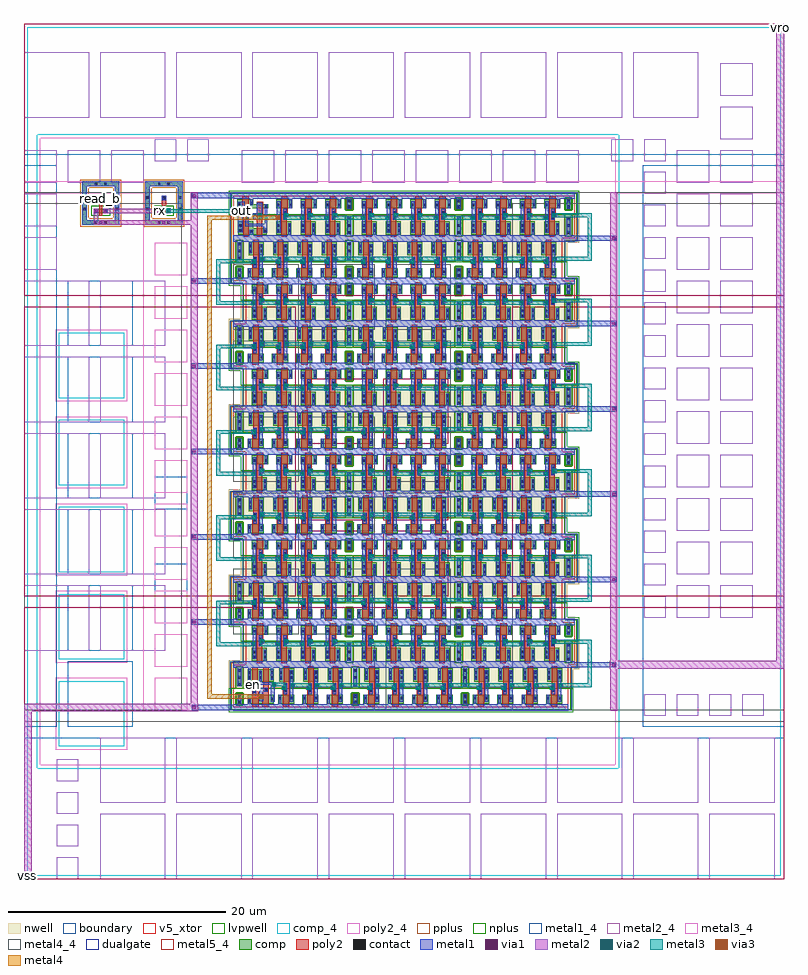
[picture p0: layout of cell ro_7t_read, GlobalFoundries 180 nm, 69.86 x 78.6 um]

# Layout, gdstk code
from math import pi, radians
import gdstk
lib = gdstk.Library(unit=1e-6, precision=1e-09)
def R(c, l, rs):  # rectangles x0, y0, x1, y1
    for r in rs: c.add(gdstk.rectangle(r[:2], r[2:], *l))
def A(c, l, x, y, w, h, nx, ny, dx, dy):  # array of equal rectangles
    R(c, l, [(x+i*dx, y+j*dy, x+i*dx+w, y+j*dy+h) for i in range(nx) for j in range(ny)])
def P(c, l, *ps):  # polygons
    for p in ps: c.add(gdstk.Polygon(p, *l))
boundary = (0, 0)
nwell = (21, 0)
comp = (22, 0)
comp_4 = (22, 4)
poly2 = (30, 0)
poly2_4 = (30, 4)
pplus = (31, 0)
nplus = (32, 0)
contact = (33, 0)
metal1 = (34, 0)
metal1_4 = (34, 4)
via1 = (35, 0)
metal2 = (36, 0)
metal2_4 = (36, 4)
via2 = (38, 0)
via3 = (40, 0)
metal3 = (42, 0)
metal3_4 = (42, 4)
metal4 = (46, 0)
metal4_4 = (46, 4)
dualgate = (55, 0)
metal5_4 = (81, 4)
v5_xtor = (112, 1)
lvpwell = (204, 0)

ro_7t__inv_1 = lib.new_cell('ro_7t__inv_1')
R(ro_7t__inv_1, boundary, [(0,0,2.24,3.92)])
R(ro_7t__inv_1, nwell, [(-0.43,1.76,2.67,4.35)])
R(ro_7t__inv_1, comp, [(0.18,0.34,1.66,1.16), (0.28,2.36,1.66,3.58)])
P(ro_7t__inv_1, poly2, [(0.62,0.12),(0.62,1.93),(0.72,1.93),(0.72,3.8),(1.22,3.8),(1.22,0.12)])
R(ro_7t__inv_1, pplus, [(-0.2,1.76,2.44,4.12)])
R(ro_7t__inv_1, nplus, [(-0.2,-0.2,2.44,1.76)])
R(ro_7t__inv_1, contact, [(0.25,0.735,0.47,0.955), (1.37,0.735,1.59,0.955), (0.79,1.42,1.01,1.64), (0.79,1.89,1.01,2.11), (0.35,2.63,0.57,2.85), (1.37,2.63,1.59,2.85), (0.35,3.1,0.57,3.32), (1.37,3.1,1.59,3.32)])
R(ro_7t__inv_1, metal1, [(1.265,0.53,1.595,3.39), (0.71,1.2,1.035,2.2)])
P(ro_7t__inv_1, metal1, [(0,-0.3),(0,0.3),(0.245,0.3),(0.245,1.16),(0.475,1.16),(0.475,0.3),(2.24,0.3),(2.24,-0.3)],
  [(0.345,2.53),(0.345,3.62),(0,3.62),(0,4.22),(2.24,4.22),(2.24,3.62),(0.575,3.62),(0.575,2.53)])
R(ro_7t__inv_1, dualgate, [(-0.28,-0.28,2.52,4.2)])
R(ro_7t__inv_1, v5_xtor, [(0,0,2.24,3.92)])
R(ro_7t__inv_1, lvpwell, [(-0.43,-0.43,2.67,1.76)])
ro_7t__inv_1.add(gdstk.Label('& Vendor GLOBALFOUNDRIES', (0,2), layer=63, texttype=63))
ro_7t__inv_1.add(gdstk.Label('& Product GF018hv5v_mcu_sc7', (0,1.5), layer=63, texttype=63))
ro_7t__inv_1.add(gdstk.Label('& Version 2015q2v1', (0,1), layer=63, texttype=63))
ro_7t__inv_1.add(gdstk.Label('& Metric 1.00', (0,0.5), layer=63, texttype=63))

ro_7t__filltie = lib.new_cell('ro_7t__filltie')
R(ro_7t__filltie, boundary, [(0,0,1.12,3.92)])
R(ro_7t__filltie, nwell, [(-0.43,1.76,1.55,4.35)])
R(ro_7t__filltie, comp, [(0.28,0.28,0.84,1.28), (0.36,1.92,0.76,3.56)])
R(ro_7t__filltie, pplus, [(0.2,0.2,0.92,1.36)])
P(ro_7t__filltie, pplus, [(-0.2,1.76),(-0.2,4.12),(1.32,4.12),(1.32,1.76),(0.92,1.76),(0.92,3.72),(0.2,3.72),(0.2,1.76)])
P(ro_7t__filltie, nplus, [(-0.2,-0.2),(-0.2,1.76),(0.2,1.76),(0.2,3.72),(0.92,3.72),(0.92,1.36),(0.2,1.36),(0.2,0.2),(0.92,0.2),(0.92,3.72),(0.92,1.76),(1.32,1.76),(1.32,-0.2)])
A(ro_7t__filltie, contact, 0.45, 1.99, 0.22, 0.22, 1, 3, 0, 0.64)
R(ro_7t__filltie, contact, [(0.45,0.4,0.67,0.62), (0.45,0.905,0.67,1.125)])
P(ro_7t__filltie, metal1, [(0,-0.3),(0,0.3),(0.39,0.3),(0.39,1.185),(0.73,1.185),(0.73,0.3),(1.12,0.3),(1.12,-0.3)],
  [(0.39,1.93),(0.39,3.62),(0,3.62),(0,4.22),(1.12,4.22),(1.12,3.62),(0.73,3.62),(0.73,1.93)])
R(ro_7t__filltie, dualgate, [(-0.28,-0.28,1.4,4.2)])
R(ro_7t__filltie, v5_xtor, [(0,0,1.12,3.92)])
R(ro_7t__filltie, lvpwell, [(-0.43,-0.43,1.55,1.76)])
ro_7t__filltie.add(gdstk.Label('& Vendor GLOBALFOUNDRIES', (0,2), layer=63, texttype=63))
ro_7t__filltie.add(gdstk.Label('& Product GF018hv5v_mcu_sc7', (0,1.5), layer=63, texttype=63))
ro_7t__filltie.add(gdstk.Label('& Version 2015q2v1', (0,1), layer=63, texttype=63))
ro_7t__filltie.add(gdstk.Label('& Metric 1.00', (0,0.5), layer=63, texttype=63))

ro_7t_read__density_fill = lib.new_cell('ro_7t_read__density_fill')
A(ro_7t_read__density_fill, comp_4, -16.05, -3.58, 6, 6, 1, 5, 0, 8)
P(ro_7t_read__density_fill, comp_4, [(-18.95,-15.48),(-18.95,52.62),(-18.05,52.62),(-18.05,-5.58),(35.41,-5.58),(35.41,52.62),(-18.95,52.62),(-18.95,62.52),(50.31,62.52),(50.31,-15.48)])
A(ro_7t_read__density_fill, poly2_4, -16.35, -3.88, 6.6, 6.6, 1, 5, 0, 8)
P(ro_7t_read__density_fill, poly2_4, [(-19.25,-15.78),(-19.25,52.32),(-17.75,52.32),(-17.75,-5.28),(35.11,-5.28),(35.11,52.32),(-19.25,52.32),(-19.25,62.82),(50.61,62.82),(50.61,-15.78)])
A(ro_7t_read__density_fill, metal1_4, -15.25, -1.78, 6, 6, 1, 6, 0, 7)
R(ro_7t_read__density_fill, metal1_4, [(-19.25,-15.78,50.61,-2.78), (-19.25,-1.78,-16.25,49.82), (37.61,-1.78,50.61,49.82), (-7.25,10.22,-4.25,13.22), (-7.25,18.22,-4.25,21.22), (-19.25,50.82,50.61,62.82)])
A(ro_7t_read__density_fill, metal2_4, -16.25, -15.78, 2, 2, 1, 4, 0, 3)
A(ro_7t_read__density_fill, metal2_4, -12.25, -15.78, 6, 6, 9, 2, 7, 7)
A(ro_7t_read__density_fill, metal2_4, 37.75, -0.78, 2, 2, 4, 1, 3, 0)
A(ro_7t_read__density_fill, metal2_4, -19.25, 5.22, 6, 6, 1, 5, 0, 7)
A(ro_7t_read__density_fill, metal2_4, -12.25, 5.22, 6, 6, 1, 5, 0, 7)
A(ro_7t_read__density_fill, metal2_4, 37.75, 8.22, 2, 2, 1, 15, 0, 3)
A(ro_7t_read__density_fill, metal2_4, 40.75, 8.22, 3, 3, 1, 11, 0, 4)
A(ro_7t_read__density_fill, metal2_4, 44.75, 8.22, 3, 3, 1, 13, 0, 4)
A(ro_7t_read__density_fill, metal2_4, -19.25, 48.22, 3, 3, 3, 1, 4, 0)
A(ro_7t_read__density_fill, metal2_4, 0.75, 48.22, 3, 3, 8, 1, 4, 0)
A(ro_7t_read__density_fill, metal2_4, -19.25, 54.22, 6, 6, 9, 1, 7, 0)
R(ro_7t_read__density_fill, metal2_4, [(-19.25,40.22,-16.25,43.22), (-19.25,44.22,-16.25,47.22), (-7.25,50.22,-5.25,52.22), (-4.25,50.22,-2.25,52.22), (34.75,50.22,36.75,52.22)])
A(ro_7t_read__density_fill, metal3_4, -7.25, -0.28, 3, 3, 1, 11, 0, 4)
R(ro_7t_read__density_fill, metal3_4, [(-19.25,-15.78,50.61,-1.28), (-19.25,-0.28,-8.25,47.32), (35.11,-0.28,50.61,47.32), (-19.25,48.32,50.61,62.82)])
A(ro_7t_read__density_fill, metal4_4, 0, 6.72, 6, 6, 3, 5, 7, 7)
R(ro_7t_read__density_fill, metal4_4, [(-19.25,-15.78,50.61,-1.28), (-19.25,-0.28,-4.75,46.32), (7,-0.28,13,5.72), (14,-0.28,20,5.72), (25.61,-0.28,50.61,46.32), (-19.25,47.32,50.61,62.82)])
A(ro_7t_read__density_fill, metal5_4, 6.75, 10.22, 6, 6, 1, 3, 0, 7)
A(ro_7t_read__density_fill, metal5_4, 13.75, 10.22, 6, 6, 1, 3, 0, 7)
R(ro_7t_read__density_fill, metal5_4, [(-19.25,-15.78,50.61,9.22), (-19.25,10.22,5.75,36.82), (25.61,10.22,50.61,36.82), (-19.25,37.82,50.61,62.82)])

ro_7t__buf_1 = lib.new_cell('ro_7t__buf_1')
R(ro_7t__buf_1, boundary, [(0,0,3.36,3.92)])
R(ro_7t__buf_1, nwell, [(-0.43,1.76,3.79,4.35)])
P(ro_7t__buf_1, comp, [(1.52,2.36),(1.52,3.015),(0.28,3.015),(0.28,3.58),(2.9,3.58),(2.9,2.36)],
  [(1.52,0.34),(1.52,0.8),(0.18,0.8),(0.18,1.16),(3,1.16),(3,0.34)])
P(ro_7t__buf_1, poly2, [(0.62,0.58),(0.62,2.135),(0.72,2.135),(0.72,3.8),(1.22,3.8),(1.22,0.58)],
  [(1.96,0.12),(1.96,3.8),(2.46,3.8),(2.46,1.44),(2.56,1.44),(2.56,0.12)])
R(ro_7t__buf_1, pplus, [(-0.2,1.76,3.56,4.12)])
R(ro_7t__buf_1, nplus, [(-0.2,-0.2,3.56,1.76)])
R(ro_7t__buf_1, contact, [(1.59,0.575,1.81,0.795), (2.71,0.655,2.93,0.875), (0.25,0.87,0.47,1.09), (0.88,1.76,1.1,1.98), (2.03,1.89,2.25,2.11), (2.61,2.63,2.83,2.85), (2.61,3.1,2.83,3.32), (0.35,3.115,0.57,3.335), (1.59,3.21,1.81,3.43)])
P(ro_7t__buf_1, metal1, [(0.705,0.65),(0.705,2.19),(1.59,2.19),(1.59,1.63),(1.22,1.63),(1.22,0.65)],
  [(0.245,0.8),(0.245,3.39),(0.63,3.39),(0.63,2.815),(2.255,2.815),(2.255,1.83),(1.97,1.83),(1.97,2.58),(0.475,2.58),(0.475,0.8)],
  [(2.33,0.575),(2.33,1.6),(2.485,1.6),(2.485,3.38),(2.955,3.38),(2.955,0.575)],
  [(0,-0.3),(0,0.3),(1.585,0.3),(1.585,0.865),(1.815,0.865),(1.815,0.3),(3.36,0.3),(3.36,-0.3)],
  [(1.53,3.13),(1.53,3.62),(0,3.62),(0,4.22),(3.36,4.22),(3.36,3.62),(1.87,3.62),(1.87,3.13)])
R(ro_7t__buf_1, dualgate, [(-0.28,-0.28,3.64,4.2)])
R(ro_7t__buf_1, v5_xtor, [(0,0,3.36,3.92)])
R(ro_7t__buf_1, lvpwell, [(-0.43,-0.43,3.79,1.76)])
ro_7t__buf_1.add(gdstk.Label('& Vendor GLOBALFOUNDRIES', (0,2), layer=63, texttype=63))
ro_7t__buf_1.add(gdstk.Label('& Product GF018hv5v_mcu_sc7', (0,1.5), layer=63, texttype=63))
ro_7t__buf_1.add(gdstk.Label('& Version 2015q2v1', (0,1), layer=63, texttype=63))
ro_7t__buf_1.add(gdstk.Label('& Metric 1.00', (0,0.5), layer=63, texttype=63))

sw_n__core = lib.new_cell('sw_n__core')
R(sw_n__core, comp, [(0,0,1.28,0.42)])
P(sw_n__core, comp, [(-1.07,-1.07),(-1.07,2.49),(-0.65,2.49),(-0.65,-0.65),(1.93,-0.65),(1.93,2.49),(-1.07,2.49),(-1.07,2.91),(2.35,2.91),(2.35,-1.07)])
R(sw_n__core, poly2, [(0.5,-0.25,0.78,0.42), (0.5,0.42,0.78,0.77), (0.43,0.77,0.85,1.59)])
P(sw_n__core, pplus, [(-1.23,-1.23),(-1.23,2.33),(-0.49,2.33),(-0.49,-0.49),(1.77,-0.49),(1.77,2.33),(-1.23,2.33),(-1.23,3.07),(2.51,3.07),(2.51,-1.23)])
R(sw_n__core, nplus, [(-0.25,-0.25,1.53,0.67)])
R(sw_n__core, contact, [(0.1,-0.97,0.32,-0.75), (0.96,-0.97,1.18,-0.75), (0.1,0.1,0.32,0.32), (0.96,0.1,1.18,0.32), (-0.97,0.285,-0.75,0.505), (2.03,0.285,2.25,0.505), (0.53,1.27,0.75,1.49), (-0.97,1.335,-0.75,1.555), (2.03,1.335,2.25,1.555), (0.1,2.59,0.32,2.81), (0.96,2.59,1.18,2.81)])
R(sw_n__core, metal1, [(0,0,0.42,0.42), (0.86,0,1.28,0.42), (0.43,1.17,0.85,1.59)])
P(sw_n__core, metal1, [(-1.07,-1.07),(-1.07,2.49),(-0.65,2.49),(-0.65,-0.65),(1.93,-0.65),(1.93,2.49),(-1.07,2.49),(-1.07,2.91),(2.35,2.91),(2.35,-1.07)])

sw_n = lib.new_cell('sw_n')
sw_n.add(gdstk.Reference(sw_n__core, (0,0)))

cryo_read_switch = lib.new_cell('cryo_read_switch')
R(cryo_read_switch, via1, [(0.51,-0.99,0.77,-0.73), (6.31,-0.99,6.57,-0.73), (0.94,0.08,1.2,0.34), (5.88,0.08,6.14,0.34), (6.74,0.08,7,0.34)])
R(cryo_read_switch, metal2, [(0.44,-1.06,0.84,-0.66), (0.44,-1.06,7.07,-0.66), (6.24,-1.06,6.64,-0.66), (6.67,-1.06,7.07,0.41), (0.87,0.01,1.27,0.41), (0.87,0.01,6.21,0.41), (5.81,0.01,6.21,0.41), (6.67,0.01,7.07,0.41)])
cryo_read_switch.add(gdstk.Reference(sw_n, (0,0)))
cryo_read_switch.add(gdstk.Reference(sw_n, (5.8,0)))

ro_7t__nand2_1 = lib.new_cell('ro_7t__nand2_1')
R(ro_7t__nand2_1, boundary, [(0,0,2.8,3.92)])
R(ro_7t__nand2_1, nwell, [(-0.43,1.76,3.23,4.35)])
R(ro_7t__nand2_1, comp, [(0.185,0.34,2.585,1.16), (0.185,2.36,2.585,3.49)])
P(ro_7t__nand2_1, poly2, [(0.625,0.12),(0.625,3.71),(1.125,3.71),(1.125,1.44),(1.225,1.44),(1.225,0.12)],
  [(1.545,0.12),(1.545,1.44),(1.645,1.44),(1.645,3.71),(2.145,3.71),(2.145,0.12)])
R(ro_7t__nand2_1, pplus, [(-0.2,1.76,3,4.12)])
R(ro_7t__nand2_1, nplus, [(-0.2,-0.2,3,1.76)])
A(ro_7t__nand2_1, contact, 0.255, 2.63, 0.22, 0.22, 3, 2, 1.02, 0.47)
R(ro_7t__nand2_1, contact, [(0.255,0.485,0.475,0.705), (2.295,0.675,2.515,0.895), (0.695,1.365,0.915,1.585), (1.755,1.515,1.975,1.735), (0.695,1.835,0.915,2.055)])
R(ro_7t__nand2_1, metal1, [(0.635,1.06,1,2.19)])
P(ro_7t__nand2_1, metal1, [(1.24,0.555),(1.24,1.82),(2.055,1.82),(2.055,1.44),(1.605,1.44),(1.605,0.555)],
  [(2.29,0.53),(2.29,2.07),(1.27,2.07),(1.27,3.38),(1.5,3.38),(1.5,2.3),(2.68,2.3),(2.68,0.53)],
  [(0,-0.3),(0,0.3),(0.25,0.3),(0.25,0.805),(0.48,0.805),(0.48,0.3),(2.8,0.3),(2.8,-0.3)],
  [(0.25,2.53),(0.25,3.62),(0,3.62),(0,4.22),(2.8,4.22),(2.8,3.62),(2.52,3.62),(2.52,2.53),(2.29,2.53),(2.29,3.62),(0.48,3.62),(0.48,2.53)])
R(ro_7t__nand2_1, dualgate, [(-0.28,-0.28,3.08,4.2)])
R(ro_7t__nand2_1, v5_xtor, [(0,0,2.8,3.92)])
R(ro_7t__nand2_1, lvpwell, [(-0.43,-0.43,3.23,1.76)])
ro_7t__nand2_1.add(gdstk.Label('& Vendor GLOBALFOUNDRIES', (0,2), layer=63, texttype=63))
ro_7t__nand2_1.add(gdstk.Label('& Product GF018hv5v_mcu_sc7', (0,1.5), layer=63, texttype=63))
ro_7t__nand2_1.add(gdstk.Label('& Version 2015q2v1', (0,1), layer=63, texttype=63))
ro_7t__nand2_1.add(gdstk.Label('& Metric 1.00', (0,0.5), layer=63, texttype=63))

ro_7t_read = lib.new_cell('ro_7t_read')
A(ro_7t_read, metal1, 4.46, 1.6, 0.4, 0.4, 3, 1, 2.24, 0)
A(ro_7t_read, metal1, 12.3, 1.6, 0.4, 0.4, 4, 1, 2.24, 0)
A(ro_7t_read, metal1, 22.38, 1.6, 0.4, 0.4, 4, 1, 2.24, 0)
A(ro_7t_read, metal1, 5.26, 1.84, 0.4, 0.4, 3, 1, 2.24, 0)
A(ro_7t_read, metal1, 13.1, 1.84, 0.4, 0.4, 4, 1, 2.24, 0)
A(ro_7t_read, metal1, 23.18, 1.84, 0.4, 0.4, 4, 1, 2.24, 0)
A(ro_7t_read, metal1, 1.62, 5.6, 0.4, 0.4, 4, 5, 2.24, 7.84)
A(ro_7t_read, metal1, 11.7, 5.6, 0.4, 0.4, 4, 6, 2.24, 7.84)
A(ro_7t_read, metal1, 21.78, 5.6, 0.4, 0.4, 4, 6, 2.24, 7.84)
A(ro_7t_read, metal1, 2.42, 5.84, 0.4, 0.4, 4, 5, 2.24, 7.84)
A(ro_7t_read, metal1, 12.5, 5.84, 0.4, 0.4, 4, 6, 2.24, 7.84)
A(ro_7t_read, metal1, 22.58, 5.84, 0.4, 0.4, 4, 6, 2.24, 7.84)
A(ro_7t_read, metal1, 1.66, 9.44, 0.4, 0.4, 4, 5, 2.24, 7.84)
A(ro_7t_read, metal1, 11.74, 9.44, 0.4, 0.4, 4, 5, 2.24, 7.84)
A(ro_7t_read, metal1, 21.82, 9.44, 0.4, 0.4, 4, 5, 2.24, 7.84)
A(ro_7t_read, metal1, 2.46, 9.68, 0.4, 0.4, 4, 5, 2.24, 7.84)
A(ro_7t_read, metal1, 12.54, 9.68, 0.4, 0.4, 4, 5, 2.24, 7.84)
A(ro_7t_read, metal1, 22.62, 9.68, 0.4, 0.4, 4, 5, 2.24, 7.84)
A(ro_7t_read, metal1, 3.86, 44.8, 0.4, 0.4, 3, 1, 2.24, 0)
A(ro_7t_read, metal1, 4.66, 45.04, 0.4, 0.4, 3, 1, 2.24, 0)
R(ro_7t_read, metal1, [(-3.85,-0.25,0.75,0.25), (-3.8,-0.2,-3.4,0.2), (2.36,0.8,2.76,1.2), (1.66,1.9,2.06,2.3), (3.54,1.9,3.94,2.3), (30.61,3.67,35.21,4.17), (30.61,3.67,35.21,4.17), (34.76,3.72,35.16,4.12), (34.76,3.72,35.16,4.12), (-3.85,7.59,0.75,8.09), (-3.85,7.59,0.75,8.09), (-3.8,7.64,-3.4,8.04), (-3.8,7.64,-3.4,8.04), (30.61,11.51,35.21,12.01), (30.61,11.51,35.21,12.01), (34.76,11.56,35.16,11.96), (34.76,11.56,35.16,11.96), (-3.85,15.43,0.75,15.93), (-3.85,15.43,0.75,15.93), (-3.8,15.48,-3.4,15.88), (-3.8,15.48,-3.4,15.88), (30.61,19.35,35.21,19.85), (30.61,19.35,35.21,19.85), (34.76,19.4,35.16,19.8), (34.76,19.4,35.16,19.8), (-3.85,23.27,0.75,23.77), (-3.85,23.27,0.75,23.77), (-3.8,23.32,-3.4,23.72), (-3.8,23.32,-3.4,23.72), (30.61,27.19,35.21,27.69), (30.61,27.19,35.21,27.69), (34.76,27.24,35.16,27.64), (34.76,27.24,35.16,27.64), (-3.85,31.11,0.75,31.61), (-3.85,31.11,0.75,31.61), (-3.8,31.16,-3.4,31.56), (-3.8,31.16,-3.4,31.56), (30.61,35.03,35.21,35.53), (30.61,35.03,35.21,35.53), (34.76,35.08,35.16,35.48), (34.76,35.08,35.16,35.48), (-3.85,38.95,0.75,39.45), (-3.85,38.95,0.75,39.45), (-3.8,39,-3.4,39.4), (-3.8,39,-3.4,39.4), (30.61,42.87,35.21,43.37), (30.61,42.87,35.21,43.37), (34.76,42.92,35.16,43.32), (34.76,42.92,35.16,43.32), (2.24,45.04,2.64,45.44), (-6.18,45.42,-5.74,45.86), (0.52,45.44,0.92,45.84), (-3.85,46.79,0.75,47.29), (-3.8,46.84,-3.4,47.24)])
A(ro_7t_read, via1, 4.53, 1.67, 0.26, 0.26, 3, 1, 2.24, 0)
A(ro_7t_read, via1, 12.37, 1.67, 0.26, 0.26, 4, 1, 2.24, 0)
A(ro_7t_read, via1, 22.45, 1.67, 0.26, 0.26, 4, 1, 2.24, 0)
A(ro_7t_read, via1, 5.33, 1.91, 0.26, 0.26, 3, 1, 2.24, 0)
A(ro_7t_read, via1, 13.17, 1.91, 0.26, 0.26, 4, 1, 2.24, 0)
A(ro_7t_read, via1, 23.25, 1.91, 0.26, 0.26, 4, 1, 2.24, 0)
A(ro_7t_read, via1, 1.69, 5.67, 0.26, 0.26, 4, 5, 2.24, 7.84)
A(ro_7t_read, via1, 11.77, 5.67, 0.26, 0.26, 4, 6, 2.24, 7.84)
A(ro_7t_read, via1, 21.85, 5.67, 0.26, 0.26, 4, 6, 2.24, 7.84)
A(ro_7t_read, via1, 2.49, 5.91, 0.26, 0.26, 4, 5, 2.24, 7.84)
A(ro_7t_read, via1, 12.57, 5.91, 0.26, 0.26, 4, 6, 2.24, 7.84)
A(ro_7t_read, via1, 22.65, 5.91, 0.26, 0.26, 4, 6, 2.24, 7.84)
A(ro_7t_read, via1, 1.73, 9.51, 0.26, 0.26, 4, 5, 2.24, 7.84)
A(ro_7t_read, via1, 11.81, 9.51, 0.26, 0.26, 4, 5, 2.24, 7.84)
A(ro_7t_read, via1, 21.89, 9.51, 0.26, 0.26, 4, 5, 2.24, 7.84)
A(ro_7t_read, via1, 2.53, 9.75, 0.26, 0.26, 4, 5, 2.24, 7.84)
A(ro_7t_read, via1, 12.61, 9.75, 0.26, 0.26, 4, 5, 2.24, 7.84)
A(ro_7t_read, via1, 22.69, 9.75, 0.26, 0.26, 4, 5, 2.24, 7.84)
A(ro_7t_read, via1, 3.93, 44.87, 0.26, 0.26, 3, 1, 2.24, 0)
A(ro_7t_read, via1, 4.73, 45.11, 0.26, 0.26, 3, 1, 2.24, 0)
R(ro_7t_read, via1, [(-3.73,-0.13,-3.47,0.13), (2.43,0.87,2.69,1.13), (1.73,1.97,1.99,2.23), (3.61,1.97,3.87,2.23), (34.83,3.79,35.09,4.05), (34.83,3.79,35.09,4.05), (-3.73,7.71,-3.47,7.97), (-3.73,7.71,-3.47,7.97), (34.83,11.63,35.09,11.89), (34.83,11.63,35.09,11.89), (-3.73,15.55,-3.47,15.81), (-3.73,15.55,-3.47,15.81), (34.83,19.47,35.09,19.73), (34.83,19.47,35.09,19.73), (-3.73,23.39,-3.47,23.65), (-3.73,23.39,-3.47,23.65), (34.83,27.31,35.09,27.57), (34.83,27.31,35.09,27.57), (-3.73,31.23,-3.47,31.49), (-3.73,31.23,-3.47,31.49), (34.83,35.15,35.09,35.41), (34.83,35.15,35.09,35.41), (-3.73,39.07,-3.47,39.33), (-3.73,39.07,-3.47,39.33), (34.83,42.99,35.09,43.25), (34.83,42.99,35.09,43.25), (2.31,45.11,2.57,45.37), (-6.09,45.51,-5.83,45.77), (0.59,45.51,0.85,45.77), (-3.73,46.91,-3.47,47.17)])
A(ro_7t_read, metal2, 4.46, 1.6, 0.4, 0.4, 3, 1, 2.24, 0)
A(ro_7t_read, metal2, 12.3, 1.6, 0.4, 0.4, 4, 1, 2.24, 0)
A(ro_7t_read, metal2, 22.38, 1.6, 0.4, 0.4, 4, 1, 2.24, 0)
A(ro_7t_read, metal2, 5.26, 1.84, 0.4, 0.4, 3, 1, 2.24, 0)
A(ro_7t_read, metal2, 13.1, 1.84, 0.4, 0.4, 4, 1, 2.24, 0)
A(ro_7t_read, metal2, 23.18, 1.84, 0.4, 0.4, 4, 1, 2.24, 0)
A(ro_7t_read, metal2, 1.62, 5.6, 0.4, 0.4, 4, 5, 2.24, 7.84)
A(ro_7t_read, metal2, 11.7, 5.6, 0.4, 0.4, 4, 6, 2.24, 7.84)
A(ro_7t_read, metal2, 21.78, 5.6, 0.4, 0.4, 4, 6, 2.24, 7.84)
A(ro_7t_read, metal2, 2.42, 5.84, 0.4, 0.4, 4, 5, 2.24, 7.84)
A(ro_7t_read, metal2, 12.5, 5.84, 0.4, 0.4, 4, 6, 2.24, 7.84)
A(ro_7t_read, metal2, 22.58, 5.84, 0.4, 0.4, 4, 6, 2.24, 7.84)
A(ro_7t_read, metal2, 1.66, 9.44, 0.4, 0.4, 4, 5, 2.24, 7.84)
A(ro_7t_read, metal2, 11.74, 9.44, 0.4, 0.4, 4, 5, 2.24, 7.84)
A(ro_7t_read, metal2, 21.82, 9.44, 0.4, 0.4, 4, 5, 2.24, 7.84)
A(ro_7t_read, metal2, 2.46, 9.68, 0.4, 0.4, 4, 5, 2.24, 7.84)
A(ro_7t_read, metal2, 12.54, 9.68, 0.4, 0.4, 4, 5, 2.24, 7.84)
A(ro_7t_read, metal2, 22.62, 9.68, 0.4, 0.4, 4, 5, 2.24, 7.84)
A(ro_7t_read, metal2, 3.86, 44.8, 0.4, 0.4, 3, 1, 2.24, 0)
A(ro_7t_read, metal2, 4.66, 45.04, 0.4, 0.4, 3, 1, 2.24, 0)
R(ro_7t_read, metal2, [(-19.25,-15.78,-18.55,0.35), (-19.25,-0.35,-3.25,0.35), (-3.9,-0.3,-3.3,47.34), (34.66,-0.3,35.26,47.34), (-3.8,-0.2,-3.4,0.2), (2.36,0.8,2.76,1.2), (1.66,1.9,2.06,2.3), (3.54,1.9,3.94,2.3), (34.61,3.57,50.61,4.27), (49.91,3.57,50.61,62.82), (34.76,3.72,35.16,4.12), (34.76,3.72,35.16,4.12), (-3.8,7.64,-3.4,8.04), (-3.8,7.64,-3.4,8.04), (34.76,11.56,35.16,11.96), (34.76,11.56,35.16,11.96), (-3.8,15.48,-3.4,15.88), (-3.8,15.48,-3.4,15.88), (34.76,19.4,35.16,19.8), (34.76,19.4,35.16,19.8), (-3.8,23.32,-3.4,23.72), (-3.8,23.32,-3.4,23.72), (34.76,27.24,35.16,27.64), (34.76,27.24,35.16,27.64), (-3.8,31.16,-3.4,31.56), (-3.8,31.16,-3.4,31.56), (34.76,35.08,35.16,35.48), (34.76,35.08,35.16,35.48), (-3.8,39,-3.4,39.4), (-3.8,39,-3.4,39.4), (34.76,42.92,35.16,43.32), (34.76,42.92,35.16,43.32), (-12.39,44.37,-3.4,44.77), (2.24,45.04,2.64,45.44), (-6.18,45.42,-5.74,45.86), (0.52,45.44,0.92,45.84), (-3.8,46.84,-3.4,47.24)])
A(ro_7t_read, via2, 4.53, 1.67, 0.26, 0.26, 3, 1, 2.24, 0)
A(ro_7t_read, via2, 12.37, 1.67, 0.26, 0.26, 4, 1, 2.24, 0)
A(ro_7t_read, via2, 22.45, 1.67, 0.26, 0.26, 4, 1, 2.24, 0)
A(ro_7t_read, via2, 5.33, 1.91, 0.26, 0.26, 3, 1, 2.24, 0)
A(ro_7t_read, via2, 13.17, 1.91, 0.26, 0.26, 4, 1, 2.24, 0)
A(ro_7t_read, via2, 23.25, 1.91, 0.26, 0.26, 4, 1, 2.24, 0)
A(ro_7t_read, via2, 1.69, 5.67, 0.26, 0.26, 4, 5, 2.24, 7.84)
A(ro_7t_read, via2, 11.77, 5.67, 0.26, 0.26, 4, 6, 2.24, 7.84)
A(ro_7t_read, via2, 21.85, 5.67, 0.26, 0.26, 4, 6, 2.24, 7.84)
A(ro_7t_read, via2, 2.49, 5.91, 0.26, 0.26, 4, 5, 2.24, 7.84)
A(ro_7t_read, via2, 12.57, 5.91, 0.26, 0.26, 4, 6, 2.24, 7.84)
A(ro_7t_read, via2, 22.65, 5.91, 0.26, 0.26, 4, 6, 2.24, 7.84)
A(ro_7t_read, via2, 1.73, 9.51, 0.26, 0.26, 4, 5, 2.24, 7.84)
A(ro_7t_read, via2, 11.81, 9.51, 0.26, 0.26, 4, 5, 2.24, 7.84)
A(ro_7t_read, via2, 21.89, 9.51, 0.26, 0.26, 4, 5, 2.24, 7.84)
A(ro_7t_read, via2, 2.53, 9.75, 0.26, 0.26, 4, 5, 2.24, 7.84)
A(ro_7t_read, via2, 12.61, 9.75, 0.26, 0.26, 4, 5, 2.24, 7.84)
A(ro_7t_read, via2, 22.69, 9.75, 0.26, 0.26, 4, 5, 2.24, 7.84)
A(ro_7t_read, via2, 3.93, 44.87, 0.26, 0.26, 3, 1, 2.24, 0)
A(ro_7t_read, via2, 4.73, 45.11, 0.26, 0.26, 3, 1, 2.24, 0)
R(ro_7t_read, via2, [(2.43,0.87,2.69,1.13), (1.73,1.97,1.99,2.23), (3.61,1.97,3.87,2.23), (2.31,45.11,2.57,45.37), (-6.09,45.51,-5.83,45.77), (0.59,45.51,0.85,45.77)])
R(ro_7t_read, via3, [(2.43,0.87,2.69,1.13), (3.93,44.87,4.19,45.13)])
A(ro_7t_read, metal3, 4.46, 1.6, 0.4, 0.4, 3, 1, 2.24, 0)
A(ro_7t_read, metal3, 12.3, 1.6, 0.4, 0.4, 4, 1, 2.24, 0)
A(ro_7t_read, metal3, 22.38, 1.6, 0.4, 0.4, 4, 1, 2.24, 0)
A(ro_7t_read, metal3, 12.33, 1.63, 0.34, 0.58, 4, 1, 2.24, 0)
A(ro_7t_read, metal3, 22.41, 1.63, 0.34, 0.58, 4, 1, 2.24, 0)
A(ro_7t_read, metal3, 5.26, 1.84, 0.4, 0.4, 3, 1, 2.24, 0)
A(ro_7t_read, metal3, 13.1, 1.84, 0.4, 0.4, 4, 1, 2.24, 0)
A(ro_7t_read, metal3, 23.18, 1.84, 0.4, 0.4, 4, 1, 2.24, 0)
A(ro_7t_read, metal3, 13.13, 1.87, 1.78, 0.34, 3, 1, 2.24, 0)
A(ro_7t_read, metal3, 23.21, 1.87, 1.78, 0.34, 3, 1, 2.24, 0)
A(ro_7t_read, metal3, 32.59, 1.87, 0.34, 4.34, 1, 6, 0, 7.84)
A(ro_7t_read, metal3, 1.62, 5.6, 0.4, 0.4, 4, 5, 2.24, 7.84)
A(ro_7t_read, metal3, 11.7, 5.6, 0.4, 0.4, 4, 6, 2.24, 7.84)
A(ro_7t_read, metal3, 21.78, 5.6, 0.4, 0.4, 4, 6, 2.24, 7.84)
A(ro_7t_read, metal3, -1.57, 5.63, 0.34, 4.18, 1, 5, 0, 7.84)
A(ro_7t_read, metal3, -1.57, 5.63, 3.56, 0.34, 1, 5, 0, 7.84)
A(ro_7t_read, metal3, 2.45, 5.63, 1.78, 0.34, 3, 5, 2.24, 7.84)
A(ro_7t_read, metal3, 2.45, 5.63, 0.34, 0.58, 4, 5, 2.24, 7.84)
A(ro_7t_read, metal3, 9.17, 5.63, 2.9, 0.34, 1, 6, 0, 7.84)
A(ro_7t_read, metal3, 12.53, 5.63, 1.78, 0.34, 3, 6, 2.24, 7.84)
A(ro_7t_read, metal3, 12.53, 5.63, 0.34, 0.58, 4, 6, 2.24, 7.84)
A(ro_7t_read, metal3, 19.25, 5.63, 2.9, 0.34, 1, 6, 0, 7.84)
A(ro_7t_read, metal3, 22.61, 5.63, 1.78, 0.34, 3, 6, 2.24, 7.84)
A(ro_7t_read, metal3, 22.61, 5.63, 0.34, 0.58, 3, 6, 2.24, 7.84)
A(ro_7t_read, metal3, 2.42, 5.84, 0.4, 0.4, 4, 5, 2.24, 7.84)
A(ro_7t_read, metal3, 12.5, 5.84, 0.4, 0.4, 4, 6, 2.24, 7.84)
A(ro_7t_read, metal3, 22.58, 5.84, 0.4, 0.4, 4, 6, 2.24, 7.84)
A(ro_7t_read, metal3, 29.33, 5.87, 3.6, 0.34, 1, 6, 0, 7.84)
A(ro_7t_read, metal3, 1.66, 9.44, 0.4, 0.4, 4, 5, 2.24, 7.84)
A(ro_7t_read, metal3, 11.74, 9.44, 0.4, 0.4, 4, 5, 2.24, 7.84)
A(ro_7t_read, metal3, 21.82, 9.44, 0.4, 0.4, 4, 5, 2.24, 7.84)
A(ro_7t_read, metal3, -1.57, 9.47, 3.6, 0.34, 1, 5, 0, 7.84)
A(ro_7t_read, metal3, 3.93, 9.47, 0.34, 0.58, 3, 5, 2.24, 7.84)
A(ro_7t_read, metal3, 11.77, 9.47, 0.34, 0.58, 4, 5, 2.24, 7.84)
A(ro_7t_read, metal3, 21.85, 9.47, 0.34, 0.58, 4, 5, 2.24, 7.84)
A(ro_7t_read, metal3, 2.46, 9.68, 0.4, 0.4, 4, 5, 2.24, 7.84)
A(ro_7t_read, metal3, 12.54, 9.68, 0.4, 0.4, 4, 5, 2.24, 7.84)
A(ro_7t_read, metal3, 22.62, 9.68, 0.4, 0.4, 4, 5, 2.24, 7.84)
A(ro_7t_read, metal3, 2.49, 9.71, 1.78, 0.34, 3, 5, 2.24, 7.84)
A(ro_7t_read, metal3, 9.21, 9.71, 2.9, 0.34, 1, 5, 0, 7.84)
A(ro_7t_read, metal3, 12.57, 9.71, 1.78, 0.34, 3, 5, 2.24, 7.84)
A(ro_7t_read, metal3, 19.29, 9.71, 2.9, 0.34, 1, 5, 0, 7.84)
A(ro_7t_read, metal3, 22.65, 9.71, 1.78, 0.34, 3, 5, 2.24, 7.84)
A(ro_7t_read, metal3, 29.37, 9.71, 3.56, 0.34, 1, 5, 0, 7.84)
A(ro_7t_read, metal3, 3.86, 44.8, 0.4, 0.4, 3, 1, 2.24, 0)
A(ro_7t_read, metal3, 4.69, 44.83, 0.34, 0.58, 3, 1, 2.24, 0)
A(ro_7t_read, metal3, 4.66, 45.04, 0.4, 0.4, 3, 1, 2.24, 0)
R(ro_7t_read, metal3, [(2.36,0.8,2.76,1.2), (2.36,0.8,2.76,1.2), (4.49,1.63,4.83,2.27), (6.73,1.63,7.07,2.21), (8.97,1.63,9.31,2.21), (5.29,1.87,7.07,2.21), (7.53,1.87,9.31,2.21), (9.77,1.87,12.67,2.21), (19.85,1.87,22.75,2.21), (29.93,1.87,32.93,2.21), (1.66,1.9,2.06,2.3), (3.54,1.9,3.94,2.3), (3.57,1.93,4.83,2.27), (3.86,44.8,4.26,45.2), (2.27,44.83,2.61,45.41), (2.27,44.83,4.23,45.17), (4.69,44.83,6.47,45.17), (6.93,44.83,8.71,45.17), (2.24,45.04,2.64,45.44), (-6.18,45.42,-5.74,45.86), (0.52,45.44,0.92,45.84), (-6.13,45.47,0.89,45.81)])
R(ro_7t_read, metal4, [(-2.4,0.8,-2,45.2), (-2.4,0.8,2.76,1.2), (2.36,0.8,2.76,1.2), (-2.4,44.8,4.26,45.2), (3.86,44.8,4.26,45.2)])
ro_7t_read.add(gdstk.Reference(ro_7t__inv_1, (10.08,23.52), rotation=pi))
ro_7t_read.add(gdstk.Reference(ro_7t__filltie, (0,23.52)))
ro_7t_read.add(gdstk.Reference(ro_7t__inv_1, (1.12,23.52)))
ro_7t_read.add(gdstk.Reference(ro_7t__inv_1, (3.36,23.52)))
ro_7t_read.add(gdstk.Reference(ro_7t__inv_1, (5.6,23.52)))
ro_7t_read.add(gdstk.Reference(ro_7t__inv_1, (7.84,23.52)))
ro_7t_read.add(gdstk.Reference(ro_7t__filltie, (10.08,23.52)))
ro_7t_read.add(gdstk.Reference(ro_7t__inv_1, (11.2,23.52)))
ro_7t_read.add(gdstk.Reference(ro_7t__inv_1, (13.44,23.52)))
ro_7t_read.add(gdstk.Reference(ro_7t__inv_1, (15.68,23.52)))
ro_7t_read.add(gdstk.Reference(ro_7t__inv_1, (17.92,23.52)))
ro_7t_read.add(gdstk.Reference(ro_7t__filltie, (20.16,23.52)))
ro_7t_read.add(gdstk.Reference(ro_7t__inv_1, (21.28,23.52)))
ro_7t_read.add(gdstk.Reference(ro_7t__inv_1, (23.52,23.52)))
ro_7t_read.add(gdstk.Reference(ro_7t__inv_1, (25.76,23.52)))
ro_7t_read.add(gdstk.Reference(ro_7t__inv_1, (28,23.52)))
ro_7t_read.add(gdstk.Reference(ro_7t__inv_1, (17.92,31.36), rotation=pi))
ro_7t_read.add(gdstk.Reference(ro_7t__inv_1, (15.68,31.36), rotation=pi))
ro_7t_read.add(gdstk.Reference(ro_7t__inv_1, (13.44,31.36)))
ro_7t_read.add(gdstk.Reference(ro_7t__inv_1, (15.68,31.36)))
ro_7t_read.add(gdstk.Reference(ro_7t__inv_1, (17.92,39.2), rotation=pi))
ro_7t_read.add(gdstk.Reference(ro_7t__inv_1, (15.68,39.2), rotation=pi))
ro_7t_read.add(gdstk.Reference(ro_7t__inv_1, (13.44,39.2)))
ro_7t_read.add(gdstk.Reference(ro_7t__inv_1, (15.68,39.2)))
ro_7t_read.add(gdstk.Reference(ro_7t__inv_1, (17.92,47.04), rotation=pi))
ro_7t_read.add(gdstk.Reference(ro_7t__inv_1, (15.68,47.04), rotation=pi))
ro_7t_read.add(gdstk.Reference(ro_7t__inv_1, (7.84,23.52), rotation=pi))
ro_7t_read.add(gdstk.Reference(ro_7t__inv_1, (5.6,23.52), rotation=pi))
ro_7t_read.add(gdstk.Reference(ro_7t__inv_1, (3.36,23.52), rotation=pi))
ro_7t_read.add(gdstk.Reference(ro_7t__inv_1, (13.44,23.52), rotation=pi))
ro_7t_read.add(gdstk.Reference(ro_7t__filltie, (11.2,23.52), rotation=pi))
ro_7t_read.add(gdstk.Reference(ro_7t__inv_1, (14,0)))
ro_7t_read.add(gdstk.Reference(ro_7t__inv_1, (17.92,7.84), rotation=pi))
ro_7t_read.add(gdstk.Reference(ro_7t__inv_1, (15.68,7.84), rotation=pi))
ro_7t_read.add(gdstk.Reference(ro_7t__inv_1, (13.44,7.84)))
ro_7t_read.add(gdstk.Reference(ro_7t__inv_1, (15.68,7.84)))
ro_7t_read.add(gdstk.Reference(ro_7t__inv_1, (17.92,15.68), rotation=pi))
ro_7t_read.add(gdstk.Reference(ro_7t__inv_1, (15.68,15.68), rotation=pi))
ro_7t_read.add(gdstk.Reference(ro_7t__inv_1, (13.44,15.68)))
ro_7t_read.add(gdstk.Reference(ro_7t__inv_1, (15.68,15.68)))
ro_7t_read.add(gdstk.Reference(ro_7t__filltie, (31.36,23.52), rotation=pi))
ro_7t_read.add(gdstk.Reference(ro_7t__inv_1, (30.24,23.52), rotation=pi))
ro_7t_read.add(gdstk.Reference(ro_7t__inv_1, (28,23.52), rotation=pi))
ro_7t_read.add(gdstk.Reference(ro_7t__inv_1, (25.76,23.52), rotation=pi))
ro_7t_read.add(gdstk.Reference(ro_7t__inv_1, (23.52,23.52), rotation=pi))
ro_7t_read.add(gdstk.Reference(ro_7t__filltie, (21.28,23.52), rotation=pi))
ro_7t_read.add(gdstk.Reference(ro_7t__inv_1, (20.16,23.52), rotation=pi))
ro_7t_read.add(gdstk.Reference(ro_7t__inv_1, (17.92,23.52), rotation=pi))
ro_7t_read.add(gdstk.Reference(ro_7t__inv_1, (15.68,23.52), rotation=pi))
ro_7t_read.add(gdstk.Reference(ro_7t_read__density_fill, (0,0)))
ro_7t_read.add(gdstk.Reference(ro_7t__filltie, (20.16,31.36)))
ro_7t_read.add(gdstk.Reference(ro_7t__inv_1, (21.28,31.36)))
ro_7t_read.add(gdstk.Reference(ro_7t__inv_1, (23.52,31.36)))
ro_7t_read.add(gdstk.Reference(ro_7t__inv_1, (25.76,31.36)))
ro_7t_read.add(gdstk.Reference(ro_7t__inv_1, (28,31.36)))
ro_7t_read.add(gdstk.Reference(ro_7t__filltie, (31.36,39.2), rotation=pi))
ro_7t_read.add(gdstk.Reference(ro_7t__inv_1, (30.24,39.2), rotation=pi))
ro_7t_read.add(gdstk.Reference(ro_7t__inv_1, (28,39.2), rotation=pi))
ro_7t_read.add(gdstk.Reference(ro_7t__inv_1, (25.76,39.2), rotation=pi))
ro_7t_read.add(gdstk.Reference(ro_7t__inv_1, (23.52,39.2), rotation=pi))
ro_7t_read.add(gdstk.Reference(ro_7t__filltie, (21.28,39.2), rotation=pi))
ro_7t_read.add(gdstk.Reference(ro_7t__inv_1, (20.16,39.2), rotation=pi))
ro_7t_read.add(gdstk.Reference(ro_7t__inv_1, (23.52,31.36), rotation=pi))
ro_7t_read.add(gdstk.Reference(ro_7t__filltie, (21.28,31.36), rotation=pi))
ro_7t_read.add(gdstk.Reference(ro_7t__inv_1, (20.16,31.36), rotation=pi))
ro_7t_read.add(gdstk.Reference(ro_7t__filltie, (31.36,31.36), rotation=pi))
ro_7t_read.add(gdstk.Reference(ro_7t__inv_1, (17.92,39.2)))
ro_7t_read.add(gdstk.Reference(ro_7t__filltie, (20.16,39.2)))
ro_7t_read.add(gdstk.Reference(ro_7t__inv_1, (21.28,39.2)))
ro_7t_read.add(gdstk.Reference(ro_7t__inv_1, (23.52,39.2)))
ro_7t_read.add(gdstk.Reference(ro_7t__inv_1, (25.76,39.2)))
ro_7t_read.add(gdstk.Reference(ro_7t__inv_1, (28,39.2)))
ro_7t_read.add(gdstk.Reference(ro_7t__filltie, (31.36,47.04), rotation=pi))
ro_7t_read.add(gdstk.Reference(ro_7t__inv_1, (30.24,47.04), rotation=pi))
ro_7t_read.add(gdstk.Reference(ro_7t__inv_1, (28,47.04), rotation=pi))
ro_7t_read.add(gdstk.Reference(ro_7t__inv_1, (25.76,47.04), rotation=pi))
ro_7t_read.add(gdstk.Reference(ro_7t__inv_1, (23.52,47.04), rotation=pi))
ro_7t_read.add(gdstk.Reference(ro_7t__filltie, (21.28,47.04), rotation=pi))
ro_7t_read.add(gdstk.Reference(ro_7t__inv_1, (20.16,47.04), rotation=pi))
ro_7t_read.add(gdstk.Reference(ro_7t__inv_1, (30.24,31.36), rotation=pi))
ro_7t_read.add(gdstk.Reference(ro_7t__inv_1, (28,31.36), rotation=pi))
ro_7t_read.add(gdstk.Reference(ro_7t__inv_1, (25.76,31.36), rotation=pi))
ro_7t_read.add(gdstk.Reference(ro_7t__inv_1, (17.92,31.36)))
ro_7t_read.add(gdstk.Reference(ro_7t__inv_1, (5.6,47.04), rotation=pi))
ro_7t_read.add(gdstk.Reference(ro_7t__buf_1, (3.36,47.04), rotation=pi))
ro_7t_read.add(gdstk.Reference(ro_7t__inv_1, (5.6,39.2), rotation=pi))
ro_7t_read.add(gdstk.Reference(ro_7t__inv_1, (5.6,39.2)))
ro_7t_read.add(gdstk.Reference(ro_7t__inv_1, (3.36,39.2), rotation=pi))
ro_7t_read.add(gdstk.Reference(ro_7t__filltie, (0,39.2)))
ro_7t_read.add(gdstk.Reference(ro_7t__inv_1, (1.12,39.2)))
ro_7t_read.add(gdstk.Reference(ro_7t__inv_1, (5.6,31.36), rotation=pi))
ro_7t_read.add(gdstk.Reference(cryo_read_switch, (-5.75,45.43), rotation=pi, x_reflection=True))
ro_7t_read.add(gdstk.Reference(ro_7t__inv_1, (11.2,31.36)))
ro_7t_read.add(gdstk.Reference(ro_7t__inv_1, (13.44,31.36), rotation=pi))
ro_7t_read.add(gdstk.Reference(ro_7t__filltie, (11.2,31.36), rotation=pi))
ro_7t_read.add(gdstk.Reference(ro_7t__inv_1, (7.84,39.2)))
ro_7t_read.add(gdstk.Reference(ro_7t__inv_1, (13.44,39.2), rotation=pi))
ro_7t_read.add(gdstk.Reference(ro_7t__filltie, (11.2,39.2), rotation=pi))
ro_7t_read.add(gdstk.Reference(ro_7t__inv_1, (7.84,31.36)))
ro_7t_read.add(gdstk.Reference(ro_7t__inv_1, (13.44,47.04), rotation=pi))
ro_7t_read.add(gdstk.Reference(ro_7t__filltie, (11.2,47.04), rotation=pi))
ro_7t_read.add(gdstk.Reference(ro_7t__inv_1, (10.08,31.36), rotation=pi))
ro_7t_read.add(gdstk.Reference(ro_7t__inv_1, (10.08,39.2), rotation=pi))
ro_7t_read.add(gdstk.Reference(ro_7t__filltie, (10.08,39.2)))
ro_7t_read.add(gdstk.Reference(ro_7t__inv_1, (11.2,39.2)))
ro_7t_read.add(gdstk.Reference(ro_7t__inv_1, (10.08,47.04), rotation=pi))
ro_7t_read.add(gdstk.Reference(ro_7t__filltie, (10.08,31.36)))
ro_7t_read.add(gdstk.Reference(ro_7t__inv_1, (7.84,31.36), rotation=pi))
ro_7t_read.add(gdstk.Reference(ro_7t__inv_1, (3.36,31.36), rotation=pi))
ro_7t_read.add(gdstk.Reference(ro_7t__filltie, (0,31.36)))
ro_7t_read.add(gdstk.Reference(ro_7t__inv_1, (1.12,31.36)))
ro_7t_read.add(gdstk.Reference(ro_7t__inv_1, (7.84,39.2), rotation=pi))
ro_7t_read.add(gdstk.Reference(ro_7t__inv_1, (3.36,31.36)))
ro_7t_read.add(gdstk.Reference(ro_7t__inv_1, (5.6,31.36)))
ro_7t_read.add(gdstk.Reference(ro_7t__inv_1, (3.36,39.2)))
ro_7t_read.add(gdstk.Reference(ro_7t__inv_1, (7.84,47.04), rotation=pi))
ro_7t_read.add(gdstk.Reference(ro_7t__inv_1, (3.36,7.84), rotation=pi))
ro_7t_read.add(gdstk.Reference(ro_7t__inv_1, (3.36,7.84)))
ro_7t_read.add(gdstk.Reference(ro_7t__inv_1, (10.08,7.84), rotation=pi))
ro_7t_read.add(gdstk.Reference(ro_7t__filltie, (10.08,7.84)))
ro_7t_read.add(gdstk.Reference(ro_7t__inv_1, (11.2,7.84)))
ro_7t_read.add(gdstk.Reference(ro_7t__inv_1, (7.84,7.84)))
ro_7t_read.add(gdstk.Reference(ro_7t__inv_1, (5.6,7.84)))
ro_7t_read.add(gdstk.Reference(ro_7t__filltie, (10.64,0)))
ro_7t_read.add(gdstk.Reference(ro_7t__inv_1, (11.76,0)))
ro_7t_read.add(gdstk.Reference(ro_7t__inv_1, (13.44,15.68), rotation=pi))
ro_7t_read.add(gdstk.Reference(ro_7t__filltie, (11.2,15.68), rotation=pi))
ro_7t_read.add(gdstk.Reference(ro_7t__inv_1, (8.4,0)))
ro_7t_read.add(gdstk.Reference(ro_7t__inv_1, (6.16,0)))
ro_7t_read.add(gdstk.Reference(ro_7t__inv_1, (10.08,15.68), rotation=pi))
ro_7t_read.add(gdstk.Reference(ro_7t__inv_1, (7.84,15.68)))
ro_7t_read.add(gdstk.Reference(ro_7t__inv_1, (7.84,15.68), rotation=pi))
ro_7t_read.add(gdstk.Reference(ro_7t__inv_1, (5.6,15.68), rotation=pi))
ro_7t_read.add(gdstk.Reference(ro_7t__inv_1, (3.36,15.68), rotation=pi))
ro_7t_read.add(gdstk.Reference(ro_7t__filltie, (0,15.68)))
ro_7t_read.add(gdstk.Reference(ro_7t__inv_1, (1.12,15.68)))
ro_7t_read.add(gdstk.Reference(ro_7t__filltie, (10.08,15.68)))
ro_7t_read.add(gdstk.Reference(ro_7t__inv_1, (11.2,15.68)))
ro_7t_read.add(gdstk.Reference(ro_7t__inv_1, (3.36,15.68)))
ro_7t_read.add(gdstk.Reference(ro_7t__inv_1, (5.6,15.68)))
ro_7t_read.add(gdstk.Reference(ro_7t__filltie, (0,7.84)))
ro_7t_read.add(gdstk.Reference(ro_7t__inv_1, (13.44,7.84), rotation=pi))
ro_7t_read.add(gdstk.Reference(ro_7t__filltie, (11.2,7.84), rotation=pi))
ro_7t_read.add(gdstk.Reference(ro_7t__filltie, (0,0)))
ro_7t_read.add(gdstk.Reference(ro_7t__nand2_1, (1.12,0)))
ro_7t_read.add(gdstk.Reference(ro_7t__inv_1, (3.92,0)))
ro_7t_read.add(gdstk.Reference(ro_7t__inv_1, (1.12,7.84)))
ro_7t_read.add(gdstk.Reference(ro_7t__inv_1, (7.84,7.84), rotation=pi))
ro_7t_read.add(gdstk.Reference(ro_7t__inv_1, (5.6,7.84), rotation=pi))
ro_7t_read.add(gdstk.Reference(ro_7t__inv_1, (20.16,15.68), rotation=pi))
ro_7t_read.add(gdstk.Reference(ro_7t__inv_1, (21.84,0)))
ro_7t_read.add(gdstk.Reference(ro_7t__inv_1, (24.08,0)))
ro_7t_read.add(gdstk.Reference(ro_7t__inv_1, (26.32,0)))
ro_7t_read.add(gdstk.Reference(ro_7t__inv_1, (28.56,0)))
ro_7t_read.add(gdstk.Reference(ro_7t__filltie, (31.36,7.84), rotation=pi))
ro_7t_read.add(gdstk.Reference(ro_7t__inv_1, (30.24,7.84), rotation=pi))
ro_7t_read.add(gdstk.Reference(ro_7t__inv_1, (28,7.84), rotation=pi))
ro_7t_read.add(gdstk.Reference(ro_7t__inv_1, (25.76,7.84), rotation=pi))
ro_7t_read.add(gdstk.Reference(ro_7t__inv_1, (23.52,7.84), rotation=pi))
ro_7t_read.add(gdstk.Reference(ro_7t__filltie, (21.28,7.84), rotation=pi))
ro_7t_read.add(gdstk.Reference(ro_7t__inv_1, (20.16,7.84), rotation=pi))
ro_7t_read.add(gdstk.Reference(ro_7t__inv_1, (16.24,0)))
ro_7t_read.add(gdstk.Reference(ro_7t__inv_1, (18.48,0)))
ro_7t_read.add(gdstk.Reference(ro_7t__filltie, (20.72,0)))
ro_7t_read.add(gdstk.Reference(ro_7t__inv_1, (17.92,7.84)))
ro_7t_read.add(gdstk.Reference(ro_7t__filltie, (20.16,7.84)))
ro_7t_read.add(gdstk.Reference(ro_7t__inv_1, (21.28,7.84)))
ro_7t_read.add(gdstk.Reference(ro_7t__inv_1, (17.92,15.68)))
ro_7t_read.add(gdstk.Reference(ro_7t__filltie, (20.16,15.68)))
ro_7t_read.add(gdstk.Reference(ro_7t__inv_1, (21.28,15.68)))
ro_7t_read.add(gdstk.Reference(ro_7t__inv_1, (23.52,15.68)))
ro_7t_read.add(gdstk.Reference(ro_7t__inv_1, (25.76,15.68)))
ro_7t_read.add(gdstk.Reference(ro_7t__inv_1, (28,15.68)))
ro_7t_read.add(gdstk.Reference(ro_7t__inv_1, (23.52,7.84)))
ro_7t_read.add(gdstk.Reference(ro_7t__inv_1, (25.76,7.84)))
ro_7t_read.add(gdstk.Reference(ro_7t__inv_1, (28,7.84)))
ro_7t_read.add(gdstk.Reference(ro_7t__filltie, (31.36,15.68), rotation=pi))
ro_7t_read.add(gdstk.Reference(ro_7t__inv_1, (30.24,15.68), rotation=pi))
ro_7t_read.add(gdstk.Reference(ro_7t__inv_1, (28,15.68), rotation=pi))
ro_7t_read.add(gdstk.Reference(ro_7t__inv_1, (25.76,15.68), rotation=pi))
ro_7t_read.add(gdstk.Reference(ro_7t__inv_1, (23.52,15.68), rotation=pi))
ro_7t_read.add(gdstk.Reference(ro_7t__filltie, (21.28,15.68), rotation=pi))
ro_7t_read.add(gdstk.Label('en', (1.86,2.1), layer=42, texttype=10))
ro_7t_read.add(gdstk.Label('out', (0.72,45.64), layer=42, texttype=10))
ro_7t_read.add(gdstk.Label('rx', (-6.82,45.64), layer=36, texttype=10))
ro_7t_read.add(gdstk.Label('vss', (-18.9,-15.43), layer=36, texttype=10))
ro_7t_read.add(gdstk.Label('vro', (50.26,62.47), layer=36, texttype=10))
ro_7t_read.add(gdstk.Label('read', (-6.39,46.81), layer=34, texttype=10))
ro_7t_read.add(gdstk.Label('read_b', (-12.19,46.81), layer=34, texttype=10))

lib.write_gds('ro_7t_read.gds')
